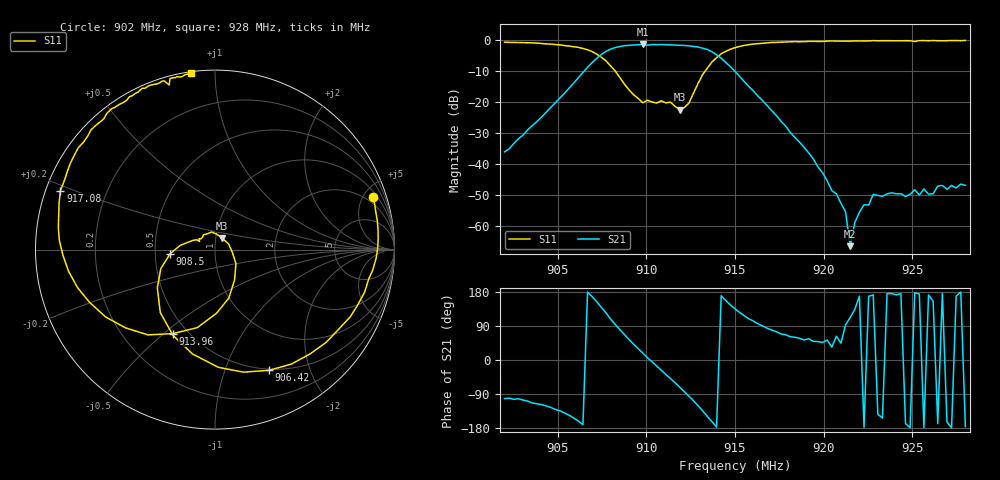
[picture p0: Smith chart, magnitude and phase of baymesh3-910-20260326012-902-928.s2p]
# HZ S RI R 50
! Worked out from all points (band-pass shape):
!   101 points, 902 MHz to 928 MHz, reference 50 ohm
!   highest |S21| = -1.36 dB at 909.8 MHz (marker M1); lowest = -66.5 dB at 921.5 MHz (marker M2)
!   |S21| within 3 dB of the highest: 907.52 MHz to 913.87 MHz (6.349 MHz wide, 0.697 % of centre)
!   lowest |S11| = -22.5 dB at 911.88 MHz (marker M3), VSWR 1.16, Z = 53.4 + j7.02 ohm
!   |S11| at or under -10 dB: 908.25 MHz to 913.31 MHz (5.061 MHz wide, 0.556 % of centre)
!   S12 and S22 are empty: the file has one direction only
!   S11 on the Smith chart (normalised r, x): 902 MHz: 1.34, +5.83; 906.42 MHz: 0.48, -1.42; 908.5 MHz: 0.60, -0.03; 913.96 MHz: 0.42, -0.54; 917.08 MHz: 0.04, +0.18; 928 MHz: 0.01, +0.87
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9.02e8  0.8814 0.2956  -0.00327 -0.0155  0 0  0 0
9.046e8  0.8337 -0.2372  -0.0471 -0.0673  0 0  0 0
9.0642e8  0.2988 -0.6729  -0.2982 -0.0491  0 0  0 0
9.0746e8  -0.2342 -0.4776  -0.443 0.3885  0 0  0 0
9.085e8  -0.2496 -0.0223  0.1342 0.7795  0 0  0 0
9.098e8  -0.0865 0.0452  0.8129 0.2653  0 0  0 0
9.1084e8  -0.0648 0.0827  0.76 -0.3868  0 0  0 0
9.1188e8  0.0373 0.0653  0.263 -0.7843  0 0  0 0
9.124e8  0.0958 -0.0132  -0.0773 -0.8089  0 0  0 0
9.1292e8  0.109 -0.1697  -0.398 -0.6649  0 0  0 0
9.1344e8  0.00896 -0.3543  -0.6058 -0.3684  0 0  0 0
9.1396e8  -0.2338 -0.468  -0.5819 -0.0325  0 0  0 0
9.15e8  -0.6993 -0.2936  -0.2231 0.2217  0 0  0 0
9.1708e8  -0.8609 0.3284  0.014 0.0713  0 0  0 0
9.1942e8  -0.6642 0.6924  0.00794 0.00916  0 0  0 0
9.2124e8  -0.5122 0.8187  -9.27e-05 0.00169  0 0  0 0
9.215e8  -0.4918 0.8323  -0.000178 0.000439  0 0  0 0
9.2176e8  -0.4764 0.852  -0.000786 0.000824  0 0  0 0
9.2228e8  -0.4423 0.8712  -0.00221 -9.07e-05  0 0  0 0
9.228e8  -0.4064 0.8983  -0.00321 0.000456  0 0  0 0
9.2384e8  -0.3387 0.9213  -0.00343 0.000276  0 0  0 0
9.28e8  -0.1341 0.9827  -0.00453 -0.000314  0 0  0 0
